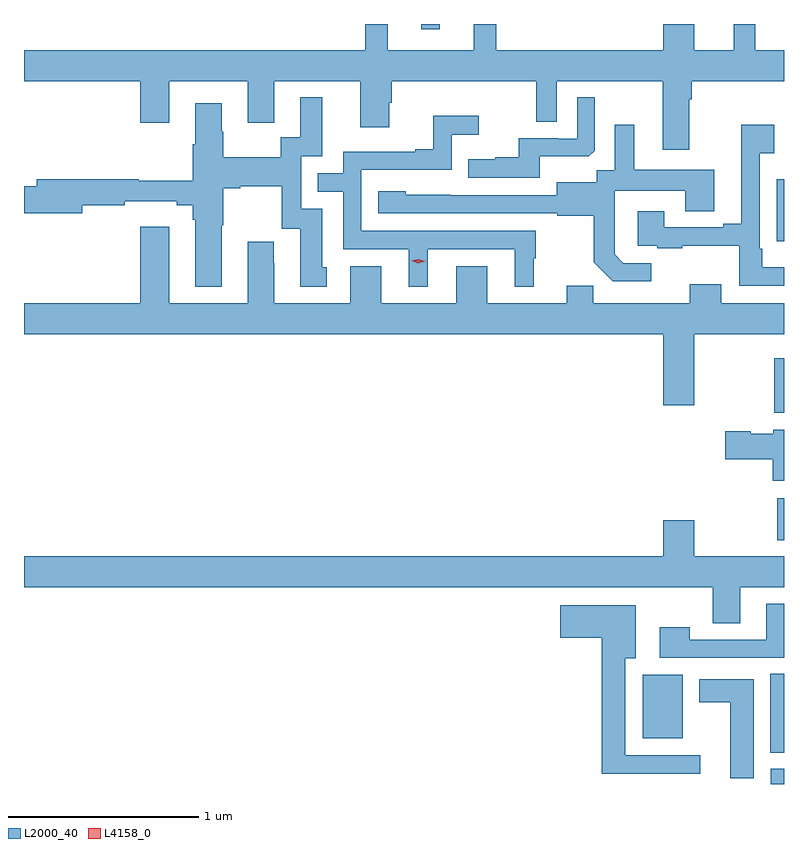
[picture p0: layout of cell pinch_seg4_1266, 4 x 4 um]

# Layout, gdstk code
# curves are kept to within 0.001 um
import gdstk
lib = gdstk.Library(unit=1e-6, precision=1e-09)
def R(c, l, rs):  # rectangles x0, y0, x1, y1
    for r in rs: c.add(gdstk.rectangle(r[:2], r[2:], *l))
def P(c, l, *ps):  # polygons
    for p in ps: c.add(gdstk.Polygon(p, *l))
L2000_40 = (2000, 40)
L4158_0 = (4158, 0)

pinch_seg4_1266 = lib.new_cell('pinch_seg4_1266')
R(pinch_seg4_1266, L2000_40, [(345.395,773.141,345.464,773.22), (345.392,773.305,345.464,773.72), (344.72,773.381,344.932,773.716), (345.429,774.425,345.464,774.646), (345.412,775.094,345.464,775.381), (345.426,775.997,345.464,776.323), (343.556,777.114,343.653,777.141)])
P(pinch_seg4_1266, L2000_40, [(344.965,776.744),(344.978,776.744),(344.978,776.84),(345.464,776.84),(345.464,777.004),(345.313,777.004),(345.313,777.141),(345.2,777.141),(345.2,777.004),(344.992,777.004),(344.992,777.141),(344.828,777.141),(344.828,777.004),(343.949,777.004),(343.949,777.141),(343.832,777.141),(343.832,777.004),(343.379,777.004),(343.379,777.141),(343.261,777.141),(343.261,777.004),(341.464,777.004),(341.464,776.84),(342.077,776.84),(342.077,776.622),(342.229,776.622),(342.229,776.84),(342.641,776.84),(342.641,776.622),(342.781,776.622),(342.781,776.84),(343.235,776.84),(343.235,776.598),(343.387,776.598),(343.387,776.727),(343.4,776.727),(343.4,776.84),(344.16,776.84),(344.16,776.626),(344.268,776.626),(344.268,776.84),(344.825,776.84),(344.825,776.478),(344.965,776.478)],
  [(342.505,776.083),(342.513,776.083),(342.513,776.276),(342.601,776.276),(342.601,776.288),(342.821,776.288),(342.821,776.064),(342.917,776.064),(342.917,775.758),(343.057,775.758),(343.057,775.86),(343.033,775.86),(343.033,776.169),(342.924,776.169),(342.924,776.445),(343.033,776.445),(343.033,776.755),(342.917,776.755),(342.917,776.546),(342.816,776.546),(342.816,776.44),(342.513,776.44),(342.513,776.574),(342.505,776.574),(342.505,776.725),(342.365,776.725),(342.365,776.507),(342.353,776.507),(342.353,776.317),(342.069,776.317),(342.069,776.324),(341.531,776.324),(341.531,776.288),(341.464,776.288),(341.464,776.146),(341.77,776.146),(341.77,776.188),(341.993,776.188),(341.993,776.207),(342.269,776.207),(342.269,776.188),(342.353,776.188),(342.353,776.111),(342.365,776.111),(342.365,775.757),(342.505,775.757)],
  [(344.179,776.444),(344.437,776.444),(344.469,776.475),(344.469,776.755),(344.376,776.755),(344.376,776.538),(344.276,776.538),(344.276,776.541),(344.069,776.541),(344.069,776.44),(343.945,776.44),(343.945,776.428),(343.801,776.428),(343.801,776.331),(344.179,776.331)],
  [(343.588,775.956),(344.048,775.956),(344.048,775.757),(344.146,775.757),(344.146,775.908),(344.158,775.908),(344.158,776.052),(343.239,776.052),(343.239,776.373),(343.716,776.373),(343.716,776.558),(343.858,776.558),(343.858,776.657),(343.618,776.657),(343.618,776.482),(343.523,776.482),(343.523,776.469),(343.143,776.469),(343.143,776.355),(343.009,776.355),(343.009,776.259),(343.143,776.259),(343.143,775.956),(343.49,775.956),(343.49,775.757),(343.588,775.757)],
  [(344.764,775.881),(344.619,775.881),(344.572,775.928),(344.572,776.023),(344.574,776.023),(344.574,776.264),(344.945,776.264),(344.945,776.155),(345.097,776.155),(345.097,776.374),(344.677,776.374),(344.677,776.611),(344.573,776.611),(344.573,776.372),(344.478,776.372),(344.478,776.308),(344.267,776.308),(344.267,776.241),(343.473,776.242),(343.473,776.26),(343.329,776.26),(343.329,776.145),(344.271,776.145),(344.271,776.133),(344.463,776.133),(344.463,775.887),(344.563,775.787),(344.764,775.787)],
  [(345.464,775.861),(345.349,775.861),(345.349,775.957),(345.336,775.957),(345.336,776.462),(345.412,776.462),(345.412,776.611),(345.239,776.611),(345.239,776.089),(345.143,776.089),(345.143,776.07),(344.833,776.07),(344.833,776.155),(344.693,776.155),(344.693,775.974),(344.797,775.974),(344.797,775.962),(344.929,775.962),(344.929,775.973),(345.228,775.973),(345.228,775.764),(345.464,775.764)],
  [(342.077,776.074),(342.077,775.672),(341.464,775.672),(341.464,775.508),(344.828,775.508),(344.828,775.134),(344.992,775.134),(344.992,775.508),(345.464,775.508),(345.464,775.672),(345.133,775.672),(345.133,775.771),(344.969,775.771),(344.969,775.672),(344.459,775.672),(344.459,775.763),(344.321,775.763),(344.321,775.672),(343.903,775.672),(343.903,775.867),(343.739,775.867),(343.739,775.672),(343.345,775.672),(343.345,775.867),(343.181,775.867),(343.181,775.672),(342.781,775.672),(342.781,775.883),(342.778,775.883),(342.778,775.996),(342.641,775.996),(342.641,775.672),(342.229,775.672),(342.229,776.074)],
  [(345.464,775.006),(345.408,775.006),(345.408,774.985),(345.288,774.985),(345.288,774.998),(345.156,774.998),(345.156,774.851),(345.404,774.851),(345.404,774.737),(345.464,774.737)],
  [(345.235,774.176),(345.464,774.176),(345.464,774.34),(344.992,774.34),(344.992,774.529),(344.828,774.529),(344.828,774.34),(341.464,774.34),(341.464,774.176),(345.088,774.176),(345.088,773.986),(345.235,773.986)],
  [(345.464,774.091),(345.371,774.091),(345.371,773.901),(344.967,773.901),(344.967,773.965),(344.811,773.965),(344.811,773.805),(345.464,773.805)],
  [(345.022,773.292),(344.629,773.292),(344.629,773.804),(344.683,773.804),(344.683,774.082),(344.286,774.082),(344.286,773.912),(344.504,773.912),(344.504,773.195),(345.022,773.195)],
  [(345.304,773.692),(345.017,773.692),(345.017,773.57),(345.182,773.57),(345.182,773.172),(345.304,773.172)])
P(pinch_seg4_1266, L4158_0, [(343.539,775.883),(343.504,775.894),(343.503,775.894),(343.504,775.894),(343.539,775.903),(343.574,775.892),(343.575,775.892),(343.574,775.892)])

lib.write_gds('pinch_seg4_1266.gds')
